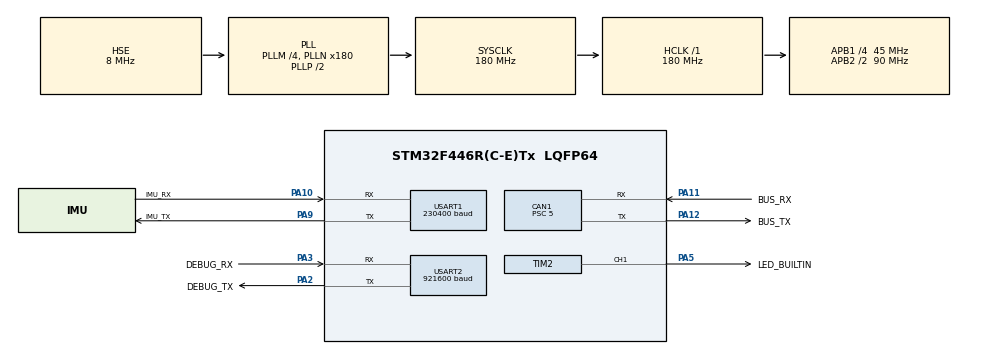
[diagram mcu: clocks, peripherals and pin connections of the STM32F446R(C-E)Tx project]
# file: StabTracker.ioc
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CAN1.BS1=CAN_BS1_15TQ
CAN1.BS2=CAN_BS2_2TQ
CAN1.CalculateBaudRate=500000
CAN1.CalculateTimeBit=1999.99
CAN1.CalculateTimeQuantum=111.11111111111111
CAN1.Prescaler=5
IWDG.Prescaler=IWDG_PRESCALER_256
IWDG.Reload=125
Mcu.Family=STM32F4
Mcu.Name=STM32F446R(C-E)Tx
Mcu.Package=LQFP64
Mcu.UserConstants=PWM_LED_OFF,0;PWM_LED_ON,1000
NVIC.CAN1_RX0_IRQn=true\:6\:0\:true\:false\:true\:true\:true
NVIC.CAN1_RX1_IRQn=true\:7\:0\:true\:false\:true\:true\:true
NVIC.CAN1_TX_IRQn=true\:8\:0\:true\:false\:true\:true\:true
NVIC.PriorityGroup=NVIC_PRIORITYGROUP_4
NVIC.TIM1_UP_TIM10_IRQn=true\:15\:0\:true\:false\:true\:true\:true
NVIC.USART1_IRQn=true\:9\:0\:true\:false\:false\:true\:true
NVIC.USART2_IRQn=true\:13\:0\:true\:false\:false\:true\:true
PA10.GPIO_Label=IMU_RX
PA10.GPIO_PuPd=GPIO_PULLUP
PA10.Mode=Asynchronous
PA10.Signal=USART1_RX
PA11.GPIO_Label=BUS_RX
PA11.GPIO_PuPd=GPIO_PULLUP
PA11.Mode=CAN_Activate
PA11.Signal=CAN1_RX
PA12.GPIO_Label=BUS_TX
PA12.GPIO_PuPd=GPIO_PULLUP
PA12.Mode=CAN_Activate
PA12.Signal=CAN1_TX
PA13.GPIO_Label=TMS
PA13.Mode=Serial_Wire
PA13.Signal=SYS_JTMS-SWDIO
PA14.GPIO_Label=TCK
PA14.Mode=Serial_Wire
PA14.Signal=SYS_JTCK-SWCLK
PA2.GPIO_Label=DEBUG_TX
PA2.Mode=Asynchronous
PA2.Signal=USART2_TX
PA3.GPIO_Label=DEBUG_RX
PA3.GPIO_PuPd=GPIO_PULLUP
PA3.Mode=Asynchronous
PA3.Signal=USART2_RX
PA5.GPIO_Label=LED_BUILTIN
PA5.Signal=S_TIM2_CH1_ETR
PA9.GPIO_Label=IMU_TX
PA9.Mode=Asynchronous
PA9.Signal=USART1_TX
PH0-OSC_IN.Mode=HSE-External-Oscillator
PH0-OSC_IN.Signal=RCC_OSC_IN
PH1-OSC_OUT.Mode=HSE-External-Oscillator
PH1-OSC_OUT.Signal=RCC_OSC_OUT
ProjectManager.HeapSize=0x200
ProjectManager.StackSize=0x400
ProjectManager.TargetToolchain=TrueSTUDIO
RCC.48MHZClocksFreq_Value=84000000
RCC.AHBFreq_Value=180000000
RCC.APB1CLKDivider=RCC_HCLK_DIV4
RCC.APB1Freq_Value=45000000
RCC.APB1TimFreq_Value=90000000
RCC.APB2CLKDivider=RCC_HCLK_DIV2
RCC.APB2Freq_Value=90000000
RCC.APB2TimFreq_Value=180000000
RCC.CortexFreq_Value=180000000
RCC.FLatency-AdvancedSettings=FLASH_LATENCY_5
RCC.HCLKFreq_Value=180000000
RCC.HSE_VALUE=8000000
RCC.HSI_VALUE=16000000
RCC.PLLM=4
RCC.PLLN=180
RCC.PLLSourceVirtual=RCC_PLLSOURCE_HSE
RCC.SYSCLKFreq_VALUE=180000000
RCC.SYSCLKSource=RCC_SYSCLKSOURCE_PLLCLK
RCC.USBFreq_Value=180000000
RCC.VCOOutputFreq_Value=360000000
SH.S_TIM2_CH1_ETR.0=TIM2_CH1,PWM Generation1 CH1
TIM1.Period=89
TIM1.Prescaler=1
TIM2.Channel-PWM\ Generation1\ CH1=TIM_CHANNEL_1
TIM2.Period=999
TIM2.Prescaler=89
TIM2.Pulse-PWM\ Generation1\ CH1=PWM_LED_OFF
USART1.BaudRate=230400
USART1.VirtualMode=VM_ASYNC
USART2.BaudRate=921600
USART2.VirtualMode=VM_ASYNC
VP_IWDG_VS_IWDG.Mode=IWDG_Activate
VP_TIM1_VS_ClockSourceINT.Mode=Internal
VP_TIM2_VS_ClockSourceINT.Mode=Internal
board=NUCLEO-F446RE

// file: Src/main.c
/* USER CODE BEGIN Header */
/**
 ******************************************************************************
 * @file           : main.c
 * @brief          : Main program body
 ******************************************************************************
 * @attention
 *
 * <h2><center>&copy; Copyright (c) 2021 STMicroelectronics.
 * All rights reserved.</center></h2>
 *
 * This software component is licensed by ST under BSD 3-Clause license,
 * the "License"; You may not use this file except in compliance with the
 * License. You may obtain a copy of the License at:
 *                        opensource.org/licenses/BSD-3-Clause
 *
 ******************************************************************************
 */
/* USER CODE END Header */
#include "main.h"

/* USER CODE BEGIN Includes */
#include <string.h>
#include <stdio.h>
#include <stdlib.h>
#include <assert.h>

#include <math.h>
#include "vector.h"

#include "rwsCanID.h"
#include "stm_hal_serial.h"
/* USER CODE END Includes */

/* USER CODE BEGIN PTD */
typedef union
{
	float f;
	int32_t i32;
	uint32_t u32;
	uint8_t b[4];
} Union_u;

typedef union
{
	int16_t f;
	uint8_t b[2];
} Union_YPR;

typedef struct
{
	uint32_t id;
	volatile bool state;
	uint8_t data[8];
	uint8_t size;
	uint8_t online;
	uint32_t debugCounter;
} TCanRecvBuffer;

typedef struct
{
	uint32_t id;
	uint8_t data[8];
	uint8_t size;
	uint32_t debugCounter;
} TCanSendBuffer;
/* USER CODE END PTD */

/* USER CODE BEGIN PD */
#define UART_BUFSIZE				1024
#define CAN_BUFSIZE					8

#define CAN_ID_RWS_MTR_STAB_ANGLE		0x301
#define CAN_ID_RWS_MTR_STAB_SPD			0x302
#define CAN_ID_RWS_PNL_STAB_MODE		0x311
#define CAN_ID_RWS_PNL_STAB_MOVE_TARGET	0x313
#define CAN_ID_RWS_PNL_STAB_MOVE_TRACK	0x312

//ADD1602
#define CAN_ID_RWS_STAB_PNL				0x340
#define CAN_ID_RWS_STAB_PNL_TRCK		0x341
#define CAN_ID_RWS_STAB_PNL_YPR			0x342

#define bitRead(value, bit) (((value) >> (bit)) & 0x01)
#define bitSet(value, bit) ((value) |= (1UL << (bit)))
#define bitClear(value, bit) ((value) &= ~(1UL << (bit)))
#define bitWrite(value, bit, bitvalue) (bitvalue ? bitSet(value, bit) : bitClear(value, bit))

#define kp1_v3 10.5
#define kp2_v3 18
#define kd1_v3 0.0
#define kd2_v3 0.1
#define ki1_v3 0.01
#define ki2_v3 0.05

#define kp1_v2 10.5
#define kp2_v2 18
#define kd1_v2 0.0
#define kd2_v2 0.1
#define ki1_v2 0.01
#define ki2_v2 0.05

#define kp1_v1 10.5
#define kp2_v1 16
#define kd1_v1 0.0
#define kd2_v1 0.01
#define ki1_v1 0.01
#define ki2_v1 0.01

#define kp1_v 10.5
#define kp2_v 12.5
#define kd1_v 0.0
#define kd2_v 0.01
#define ki1_v 0.01
#define ki2_v 0.01

// Freq Com in Hz
#define FREQ_COM 100
#define LIMIT_SPEED 50

/* USER CODE END PD */

CAN_HandleTypeDef hcan1;

IWDG_HandleTypeDef hiwdg;

TIM_HandleTypeDef htim1;
TIM_HandleTypeDef htim2;

UART_HandleTypeDef huart1;
UART_HandleTypeDef huart2;

/* USER CODE BEGIN PV */
/* TODO Global Variables*/
uint16_t bufLen = 0;
char buf[UART_BUFSIZE];

/* SERIAL 1 */
Ring_Buffer_t tx1Buffer = { { 0 }, 0, 0 };
Ring_Buffer_t rx1Buffer = { { 0 }, 0, 0 };
TSerial imu = { &rx1Buffer, &tx1Buffer, &huart1 };

/* SERIAL 2 */
Ring_Buffer_t tx2Buffer = { { 0 }, 0, 0 };
Ring_Buffer_t rx2Buffer = { { 0 }, 0, 0 };
TSerial debug = { &rx2Buffer, &tx2Buffer, &huart2 };

/* CAN BUS */
CAN_TxHeaderTypeDef can1TxHeader;
CAN_RxHeaderTypeDef can1RxHeader;
uint32_t can1TxMailBox;
uint8_t can1TxBuffer[CAN_BUFSIZE];
uint8_t can1RxBuffer[CAN_BUFSIZE];

TCanRecvBuffer canRecvMotorAngle = { CAN_ID_RWS_MTR_STAB_ANGLE, false, { 0 }, 8, 0, 0 };
TCanRecvBuffer canRecvMotorSpeed = { CAN_ID_RWS_MTR_STAB_SPD, false, { 0 }, 8, 0, 0 };
TCanRecvBuffer canRecvPanelMode = { CAN_ID_RWS_PNL_STAB_MODE, false, { 0 }, 1, 0, 0 };
TCanSendBuffer canSendStabilized = { CAN_ID_RWS_STAB_PNL, { 0 }, 8, 0 };

//ADD1602
TCanRecvBuffer canRecvPanelMoveTrack = { CAN_ID_RWS_PNL_STAB_MOVE_TRACK, false, { 0 }, 8, 0, 0 };
TCanRecvBuffer canRecvPanelMoveTarget = { CAN_ID_RWS_PNL_STAB_MOVE_TARGET, false, { 0 }, 8, 0, 0 };
TCanSendBuffer canSendStabilizedTrack = { CAN_ID_RWS_STAB_PNL_TRCK, { 0 }, 8, 0 };
TCanSendBuffer canSendYPR = { CAN_ID_RWS_STAB_PNL_YPR, { 0 }, 6, 0 };

/* Model States */
int countLog = 0;
float x0 = -90 * M_PI / 180;
float x1 = -90 * M_PI / 180;
float x2 = 0;
float theta1 = 90 * M_PI / 180;
float theta2 = 0;
float theta1_d, theta2_d;
float q_acc1, q_acc2;
float e_q1, e_q2;
float q_des_now_1, q_des_now_2;
int first_start = 1;
int countmove = 0;
float speed_limit = LIMIT_SPEED;
float cek_pitch, cek_roll;

float theta1_calc = 0;
float theta2_calc = 0;

float e_q1_last = 90 * M_PI / 180;
float e_q2_last = 0;
float e_qd1, e_qd2;

float Torque1 = 0;
float Torque2 = 0;
float pos_ee[3] = { 0, 0, 0 };
float target_pos[3] = { 0, 0, 0 };
float lengan_pos[3] = { 0, 0, 0 };
float lenganq_pos[3] = { 0, 0, 0 };
float target_pitch = 0;
float dpitch, dyaw;

float backup_val[6] = { kp1_v, kp2_v, kd1_v, kd2_v, ki1_v, ki2_v };
float kp1 = kp1_v, kp2 = kp2_v;
float kd1 = kd1_v, kd2 = kd2_v;
float ki1 = ki1_v, ki2 = ki2_v;
int save_pid_q = 0;
int debugIMUcount = 0;
int i = 0;

float theta1_target = 90 * M_PI / 180;
float theta2_target = 0;
float x0_target = -90 * M_PI / 180;
float x1_target = -90 * M_PI / 180;

float offset0 = 0.0f, offset1 = 0.0f;
int set_2 = 0;

uint32_t period_com = 1000 / FREQ_COM;

/* Move Target */
float move_theta1, move_theta2;
bool update_move;

//ADD1602
float track_theta1, track_theta2;
bool update_move_track;

/* CAN TX Vars */
Union_u sp_send1;
Union_u sp_send2;

/* CAN RX Vars */
bool mode = false;
bool mode_track = false;

/* IMU */
char imuBuf[UART_BUFSIZE];
Union_YPR yaw, pitch, roll;

volatile uint32_t Milliseconds;
volatile uint32_t Microseconds;

/* USER CODE END PV */

void SystemClock_Config(void);
static void MX_GPIO_Init(void);
static void MX_USART1_UART_Init(void);
static void MX_USART2_UART_Init(void);
static void MX_IWDG_Init(void);
static void MX_TIM2_Init(void);
static void MX_TIM1_Init(void);
static void MX_CAN1_Init(void);
/* USER CODE BEGIN PFP */
static void imuHandler();
static void busHandler();
static void kontrolHandler();
static void calc_torques();
static void forward_kinematics();
static void log_data();
static void reset_IMU_integrals();
static float roundOneDec(float);
static void calc_target();
static void gain_schedule();

/* USER CODE END PFP */

/* USER CODE BEGIN 0 */
static void CAN_Config()
{
	CAN_FilterTypeDef sFilterConfig;

	/*##-2- Configure the CAN Filter ###########################################*/

	/* filter can id = CAN_ID_RWS_PNL_STAB_MODE= 0x311 */
	sFilterConfig.FilterBank = 0;
	sFilterConfig.FilterMode = CAN_FILTERMODE_IDMASK;
	sFilterConfig.FilterScale = CAN_FILTERSCALE_32BIT;
	sFilterConfig.FilterIdHigh = (CAN_ID_RWS_PNL_STAB_MODE << 5);
	sFilterConfig.FilterIdLow = 0;
	sFilterConfig.FilterMaskIdHigh = (CAN_ID_RWS_PNL_STAB_MODE << 5);
	sFilterConfig.FilterMaskIdLow = 0;
	sFilterConfig.FilterFIFOAssignment = CAN_RX_FIFO0;
	sFilterConfig.FilterActivation = ENABLE;
	sFilterConfig.SlaveStartFilterBank = 14;

	if (HAL_CAN_ConfigFilter(&hcan1, &sFilterConfig) != HAL_OK) {
		/* filter configuration error */
		Error_Handler();
	}

	/* filter can id = CAN_ID_RWS_MTR_STAB_ANGLE= 0x301 */
	sFilterConfig.FilterBank = 1;
	sFilterConfig.FilterMode = CAN_FILTERMODE_IDMASK;
	sFilterConfig.FilterScale = CAN_FILTERSCALE_32BIT;
	sFilterConfig.FilterIdHigh = (CAN_ID_RWS_MTR_STAB_ANGLE << 5);
	sFilterConfig.FilterIdLow = 0;
	sFilterConfig.FilterMaskIdHigh = (CAN_ID_RWS_MTR_STAB_ANGLE << 5);
	sFilterConfig.FilterMaskIdLow = 0;
	sFilterConfig.FilterFIFOAssignment = CAN_RX_FIFO0;
	sFilterConfig.FilterActivation = ENABLE;
	sFilterConfig.SlaveStartFilterBank = 14;

	if (HAL_CAN_ConfigFilter(&hcan1, &sFilterConfig) != HAL_OK) {
		/* filter configuration error */
		Error_Handler();
	}

	/* filter can id = CAN_ID_RWS_MTR_STAB_SPD= 0x302 */
	sFilterConfig.FilterBank = 2;
	sFilterConfig.FilterMode = CAN_FILTERMODE_IDMASK;
	sFilterConfig.FilterScale = CAN_FILTERSCALE_32BIT;
	sFilterConfig.FilterIdHigh = (CAN_ID_RWS_MTR_STAB_SPD << 5);
	sFilterConfig.FilterIdLow = 0;
	sFilterConfig.FilterMaskIdHigh = (CAN_ID_RWS_MTR_STAB_SPD << 5);
	sFilterConfig.FilterMaskIdLow = 0;
	sFilterConfig.FilterFIFOAssignment = CAN_RX_FIFO0;
	sFilterConfig.FilterActivation = ENABLE;
	sFilterConfig.SlaveStartFilterBank = 14;

	if (HAL_CAN_ConfigFilter(&hcan1, &sFilterConfig) != HAL_OK) {
		/* filter configuration error */
		Error_Handler();
	}

	/* filter can id = CAN_ID_RWS_PNL_STAB_MOVE_TRACK= 0x312 */
	sFilterConfig.FilterBank = 3;
	sFilterConfig.FilterMode = CAN_FILTERMODE_IDMASK;
	sFilterConfig.FilterScale = CAN_FILTERSCALE_32BIT;
	sFilterConfig.FilterIdHigh = (CAN_ID_RWS_PNL_STAB_MOVE_TRACK << 5);
	sFilterConfig.FilterIdLow = 0;
	sFilterConfig.FilterMaskIdHigh = (CAN_ID_RWS_PNL_STAB_MOVE_TRACK << 5);
	sFilterConfig.FilterMaskIdLow = 0;
	sFilterConfig.FilterFIFOAssignment = CAN_RX_FIFO0;
	sFilterConfig.FilterActivation = ENABLE;
	sFilterConfig.SlaveStartFilterBank = 14;

	if (HAL_CAN_ConfigFilter(&hcan1, &sFilterConfig) != HAL_OK) {
		/* filter configuration error */
		Error_Handler();
	}

	/* filter can id = CAN_ID_RWS_PNL_STAB_MOVE_TRACK= 0x312 */
	sFilterConfig.FilterBank = 4;
	sFilterConfig.FilterMode = CAN_FILTERMODE_IDMASK;
	sFilterConfig.FilterScale = CAN_FILTERSCALE_32BIT;
	sFilterConfig.FilterIdHigh = (CAN_ID_RWS_PNL_STAB_MOVE_TARGET << 5);
	sFilterConfig.FilterIdLow = 0;
	sFilterConfig.FilterMaskIdHigh = (CAN_ID_RWS_PNL_STAB_MOVE_TARGET << 5);
	sFilterConfig.FilterMaskIdLow = 0;
	sFilterConfig.FilterFIFOAssignment = CAN_RX_FIFO0;
	sFilterConfig.FilterActivation = ENABLE;
	sFilterConfig.SlaveStartFilterBank = 14;

	if (HAL_CAN_ConfigFilter(&hcan1, &sFilterConfig) != HAL_OK) {
		/* filter configuration error */
		Error_Handler();
	}

	/*##-3- Start the CAN peripheral ###########################################*/
	if (HAL_CAN_Start(&hcan1) != HAL_OK) {
		/* Start Error */
		Error_Handler();
	}

	/*##-4- Activate CAN RX notification #######################################*/
	if (HAL_CAN_ActivateNotification(&hcan1, CAN_IT_RX_FIFO0_MSG_PENDING) != HAL_OK) {
		__HAL_CAN_ENABLE_IT(&hcan1, CAN_IT_RX_FIFO0_MSG_PENDING);
	}

	/*##-5- Configure Transmission process #####################################*/
	can1TxHeader.StdId = 0x123;
	can1TxHeader.ExtId = 0x01;
	can1TxHeader.RTR = CAN_RTR_DATA;
	can1TxHeader.IDE = CAN_ID_STD;
	can1TxHeader.DLC = CAN_BUFSIZE;
	can1TxHeader.TransmitGlobalTime = DISABLE;
}

static void ledToggle()
{
	if (__HAL_TIM_GET_COMPARE(&htim2,TIM_CHANNEL_1) == PWM_LED_OFF)
		__HAL_TIM_SET_COMPARE(&htim2, TIM_CHANNEL_1, PWM_LED_ON);
	else
		__HAL_TIM_SET_COMPARE(&htim2, TIM_CHANNEL_1, PWM_LED_OFF);
}

static void ledOn()
{
	__HAL_TIM_SET_COMPARE(&htim2, TIM_CHANNEL_1, PWM_LED_ON);
}

static void ledOff()
{
	__HAL_TIM_SET_COMPARE(&htim2, TIM_CHANNEL_1, PWM_LED_OFF);
}

/* USER CODE END 0 */

int main(void)
{

	/* MCU Configuration--------------------------------------------------------*/

	/* Reset of all peripherals, Initializes the Flash interface and the Systick. */
	HAL_Init();

	/* Configure the system clock */
	SystemClock_Config();

	/* Initialize all configured peripherals */
	MX_GPIO_Init();
	MX_USART1_UART_Init();
	MX_USART2_UART_Init();
	MX_IWDG_Init();
	MX_TIM2_Init();
	MX_TIM1_Init();
	MX_CAN1_Init();
	/* USER CODE BEGIN 2 */
	HAL_IWDG_Refresh(&hiwdg);

	serial_init(&debug);
	bufLen = sprintf(buf, "\r\nStabilizer & Tracker Control Firmware!\r\n");
	serial_write_str(&debug, buf, bufLen);

	HAL_TIM_PWM_Start(&htim2, TIM_CHANNEL_1);
	ledOn();

//	HAL_TIM_Base_Start_IT(&htim1);
//	__HAL_TIM_SET_COUNTER(&htim1, 0);

	serial_init(&imu);

	/* USER CODE END 2 */

	/* Infinite loop */
	/* USER CODE BEGIN WHILE */
//	uint32_t debugTimer = 0;
//	uint32_t pwmLedPeriod = PWM_LED_OFF;
	while (1) {
		HAL_IWDG_Refresh(&hiwdg);
		/* USER CODE END WHILE */

		/* USER CODE BEGIN 3 */
		imuHandler();
		busHandler();
		kontrolHandler();
//		if (HAL_GetTick() >= debugTimer) {
//			debugTimer = HAL_GetTick() + 1000;
//
//			if (pwmLedPeriod == PWM_LED_OFF)
//				pwmLedPeriod = PWM_LED_ON;
//			else
//				pwmLedPeriod = PWM_LED_OFF;
//
//			__HAL_TIM_SET_COMPARE(&htim2, TIM_CHANNEL_1, pwmLedPeriod);
//			bufLen = sprintf(buf, "pwm= %d t=%d%03dus\r\n", pwmLedPeriod, Milliseconds,
//					Microseconds);
//			serial_write_str(&debug, buf, bufLen);
//		}

	}
	/* USER CODE END 3 */
}

void SystemClock_Config(void)
{
	RCC_OscInitTypeDef RCC_OscInitStruct = { 0 };
	RCC_ClkInitTypeDef RCC_ClkInitStruct = { 0 };

	/** Configure the main internal regulator output voltage
	 */
	__HAL_RCC_PWR_CLK_ENABLE()
	;
	__HAL_PWR_VOLTAGESCALING_CONFIG(PWR_REGULATOR_VOLTAGE_SCALE1);
	/** Initializes the RCC Oscillators according to the specified parameters
	 * in the RCC_OscInitTypeDef structure.
	 */
	RCC_OscInitStruct.OscillatorType = RCC_OSCILLATORTYPE_LSI | RCC_OSCILLATORTYPE_HSE;
	RCC_OscInitStruct.HSEState = RCC_HSE_ON;
	RCC_OscInitStruct.LSIState = RCC_LSI_ON;
	RCC_OscInitStruct.PLL.PLLState = RCC_PLL_ON;
	RCC_OscInitStruct.PLL.PLLSource = RCC_PLLSOURCE_HSE;
	RCC_OscInitStruct.PLL.PLLM = 4;
	RCC_OscInitStruct.PLL.PLLN = 180;
	RCC_OscInitStruct.PLL.PLLP = RCC_PLLP_DIV2;
	RCC_OscInitStruct.PLL.PLLQ = 2;
	RCC_OscInitStruct.PLL.PLLR = 2;
	if (HAL_RCC_OscConfig(&RCC_OscInitStruct) != HAL_OK) {
		Error_Handler();
	}
	/** Activate the Over-Drive mode
	 */
	if (HAL_PWREx_EnableOverDrive() != HAL_OK) {
		Error_Handler();
	}
	/** Initializes the CPU, AHB and APB buses clocks
	 */
	RCC_ClkInitStruct.ClockType = RCC_CLOCKTYPE_HCLK | RCC_CLOCKTYPE_SYSCLK | RCC_CLOCKTYPE_PCLK1
			| RCC_CLOCKTYPE_PCLK2;
	RCC_ClkInitStruct.SYSCLKSource = RCC_SYSCLKSOURCE_PLLCLK;
	RCC_ClkInitStruct.AHBCLKDivider = RCC_SYSCLK_DIV1;
	RCC_ClkInitStruct.APB1CLKDivider = RCC_HCLK_DIV4;
	RCC_ClkInitStruct.APB2CLKDivider = RCC_HCLK_DIV2;

	if (HAL_RCC_ClockConfig(&RCC_ClkInitStruct, FLASH_LATENCY_5) != HAL_OK) {
		Error_Handler();
	}
}

static void MX_CAN1_Init(void)
{

	hcan1.Instance = CAN1;
	hcan1.Init.Prescaler = 5;
	hcan1.Init.Mode = CAN_MODE_NORMAL;
	hcan1.Init.SyncJumpWidth = CAN_SJW_1TQ;
	hcan1.Init.TimeSeg1 = CAN_BS1_15TQ;
	hcan1.Init.TimeSeg2 = CAN_BS2_2TQ;
	hcan1.Init.TimeTriggeredMode = DISABLE;
	hcan1.Init.AutoBusOff = DISABLE;
	hcan1.Init.AutoWakeUp = DISABLE;
	hcan1.Init.AutoRetransmission = DISABLE;
	hcan1.Init.ReceiveFifoLocked = DISABLE;
	hcan1.Init.TransmitFifoPriority = DISABLE;
	if (HAL_CAN_Init(&hcan1) != HAL_OK) {
		Error_Handler();
	}
	/* USER CODE BEGIN CAN1_Init 2 */
	CAN_Config();
	/* USER CODE END CAN1_Init 2 */

}

static void MX_IWDG_Init(void)
{

	hiwdg.Instance = IWDG;
	hiwdg.Init.Prescaler = IWDG_PRESCALER_256;
	hiwdg.Init.Reload = 125;
	if (HAL_IWDG_Init(&hiwdg) != HAL_OK) {
		Error_Handler();
	}

}

static void MX_TIM1_Init(void)
{

	TIM_ClockConfigTypeDef sClockSourceConfig = { 0 };
	TIM_MasterConfigTypeDef sMasterConfig = { 0 };

	htim1.Instance = TIM1;
	htim1.Init.Prescaler = 1;
	htim1.Init.CounterMode = TIM_COUNTERMODE_UP;
	htim1.Init.Period = 89;
	htim1.Init.ClockDivision = TIM_CLOCKDIVISION_DIV1;
	htim1.Init.RepetitionCounter = 0;
	htim1.Init.AutoReloadPreload = TIM_AUTORELOAD_PRELOAD_DISABLE;
	if (HAL_TIM_Base_Init(&htim1) != HAL_OK) {
		Error_Handler();
	}
	sClockSourceConfig.ClockSource = TIM_CLOCKSOURCE_INTERNAL;
	if (HAL_TIM_ConfigClockSource(&htim1, &sClockSourceConfig) != HAL_OK) {
		Error_Handler();
	}
	sMasterConfig.MasterOutputTrigger = TIM_TRGO_RESET;
	sMasterConfig.MasterSlaveMode = TIM_MASTERSLAVEMODE_DISABLE;
	if (HAL_TIMEx_MasterConfigSynchronization(&htim1, &sMasterConfig) != HAL_OK) {
		Error_Handler();
	}

}

static void MX_TIM2_Init(void)
{

	TIM_ClockConfigTypeDef sClockSourceConfig = { 0 };
	TIM_MasterConfigTypeDef sMasterConfig = { 0 };
	TIM_OC_InitTypeDef sConfigOC = { 0 };

	htim2.Instance = TIM2;
	htim2.Init.Prescaler = 89;
	htim2.Init.CounterMode = TIM_COUNTERMODE_UP;
	htim2.Init.Period = 999;
	htim2.Init.ClockDivision = TIM_CLOCKDIVISION_DIV1;
	htim2.Init.AutoReloadPreload = TIM_AUTORELOAD_PRELOAD_DISABLE;
	if (HAL_TIM_Base_Init(&htim2) != HAL_OK) {
		Error_Handler();
	}
	sClockSourceConfig.ClockSource = TIM_CLOCKSOURCE_INTERNAL;
	if (HAL_TIM_ConfigClockSource(&htim2, &sClockSourceConfig) != HAL_OK) {
		Error_Handler();
	}
	if (HAL_TIM_PWM_Init(&htim2) != HAL_OK) {
		Error_Handler();
	}
	sMasterConfig.MasterOutputTrigger = TIM_TRGO_RESET;
	sMasterConfig.MasterSlaveMode = TIM_MASTERSLAVEMODE_DISABLE;
	if (HAL_TIMEx_MasterConfigSynchronization(&htim2, &sMasterConfig) != HAL_OK) {
		Error_Handler();
	}
	sConfigOC.OCMode = TIM_OCMODE_PWM1;
	sConfigOC.Pulse = PWM_LED_OFF;
	sConfigOC.OCPolarity = TIM_OCPOLARITY_HIGH;
	sConfigOC.OCFastMode = TIM_OCFAST_DISABLE;
	if (HAL_TIM_PWM_ConfigChannel(&htim2, &sConfigOC, TIM_CHANNEL_1) != HAL_OK) {
		Error_Handler();
	}
	HAL_TIM_MspPostInit(&htim2);

}

static void MX_USART1_UART_Init(void)
{

	huart1.Instance = USART1;
	huart1.Init.BaudRate = 230400;
	huart1.Init.WordLength = UART_WORDLENGTH_8B;
	huart1.Init.StopBits = UART_STOPBITS_1;
	huart1.Init.Parity = UART_PARITY_NONE;
	huart1.Init.Mode = UART_MODE_TX_RX;
	huart1.Init.HwFlowCtl = UART_HWCONTROL_NONE;
	huart1.Init.OverSampling = UART_OVERSAMPLING_16;
	if (HAL_UART_Init(&huart1) != HAL_OK) {
		Error_Handler();
	}

}

static void MX_USART2_UART_Init(void)
{

	huart2.Instance = USART2;
	huart2.Init.BaudRate = 921600;
	huart2.Init.WordLength = UART_WORDLENGTH_8B;
	huart2.Init.StopBits = UART_STOPBITS_1;
	huart2.Init.Parity = UART_PARITY_NONE;
	huart2.Init.Mode = UART_MODE_TX_RX;
	huart2.Init.HwFlowCtl = UART_HWCONTROL_NONE;
	huart2.Init.OverSampling = UART_OVERSAMPLING_16;
	if (HAL_UART_Init(&huart2) != HAL_OK) {
		Error_Handler();
	}

}

static void MX_GPIO_Init(void)
{
	GPIO_InitTypeDef GPIO_InitStruct = { 0 };

	/* GPIO Ports Clock Enable */
	__HAL_RCC_GPIOC_CLK_ENABLE()
	;
	__HAL_RCC_GPIOH_CLK_ENABLE()
	;
	__HAL_RCC_GPIOA_CLK_ENABLE()
	;
	__HAL_RCC_GPIOB_CLK_ENABLE()
	;
	__HAL_RCC_GPIOD_CLK_ENABLE()
	;

	/*Configure GPIO pins : PC13 PC14 PC15 PC0
	 PC1 PC2 PC3 PC4
	 PC5 PC6 PC7 PC8
	 PC9 PC10 PC11 PC12 */
	GPIO_InitStruct.Pin = GPIO_PIN_13 | GPIO_PIN_14 | GPIO_PIN_15 | GPIO_PIN_0 | GPIO_PIN_1
			| GPIO_PIN_2 | GPIO_PIN_3 | GPIO_PIN_4 | GPIO_PIN_5 | GPIO_PIN_6 | GPIO_PIN_7
			| GPIO_PIN_8 | GPIO_PIN_9 | GPIO_PIN_10 | GPIO_PIN_11 | GPIO_PIN_12;
	GPIO_InitStruct.Mode = GPIO_MODE_ANALOG;
	GPIO_InitStruct.Pull = GPIO_NOPULL;
	HAL_GPIO_Init(GPIOC, &GPIO_InitStruct);

	/*Configure GPIO pins : PA0 PA1 PA4 PA6
	 PA7 PA8 PA15 */
	GPIO_InitStruct.Pin = GPIO_PIN_0 | GPIO_PIN_1 | GPIO_PIN_4 | GPIO_PIN_6 | GPIO_PIN_7
			| GPIO_PIN_8 | GPIO_PIN_15;
	GPIO_InitStruct.Mode = GPIO_MODE_ANALOG;
	GPIO_InitStruct.Pull = GPIO_NOPULL;
	HAL_GPIO_Init(GPIOA, &GPIO_InitStruct);

	/*Configure GPIO pins : PB0 PB1 PB2 PB10
	 PB12 PB13 PB14 PB15
	 PB3 PB4 PB5 PB6
	 PB7 PB8 PB9 */
	GPIO_InitStruct.Pin = GPIO_PIN_0 | GPIO_PIN_1 | GPIO_PIN_2 | GPIO_PIN_10 | GPIO_PIN_12
			| GPIO_PIN_13 | GPIO_PIN_14 | GPIO_PIN_15 | GPIO_PIN_3 | GPIO_PIN_4 | GPIO_PIN_5
			| GPIO_PIN_6 | GPIO_PIN_7 | GPIO_PIN_8 | GPIO_PIN_9;
	GPIO_InitStruct.Mode = GPIO_MODE_ANALOG;
	GPIO_InitStruct.Pull = GPIO_NOPULL;
	HAL_GPIO_Init(GPIOB, &GPIO_InitStruct);

	/*Configure GPIO pin : PD2 */
	GPIO_InitStruct.Pin = GPIO_PIN_2;
	GPIO_InitStruct.Mode = GPIO_MODE_ANALOG;
	GPIO_InitStruct.Pull = GPIO_NOPULL;
	HAL_GPIO_Init(GPIOD, &GPIO_InitStruct);

}

/* USER CODE BEGIN 4 */
/* TODO Begin of Functions Declaration*/

//void TIM1_UP_TIM10_IRQHandler(void)
//{
//	/* TIM Update event */
//	if (__HAL_TIM_GET_FLAG(&htim1, TIM_FLAG_UPDATE) != RESET) {
//		if (__HAL_TIM_GET_IT_SOURCE(&htim1, TIM_IT_UPDATE) != RESET) {
//			__HAL_TIM_CLEAR_IT(&htim1, TIM_IT_UPDATE);
//
//			Microseconds++;
//			if (Microseconds >= 1000) {
//				Microseconds = 0;
//				Milliseconds++;
//			}
//		}
//	}
//}
/* TODO Begin of Functions Declaration*/
void USART1_IRQHandler(void)
{
	USARTx_IRQHandler(&imu);
}

void USART2_IRQHandler(void)
{
	USARTx_IRQHandler(&debug);
}

/**
 * @brief  Rx Fifo 0 message pending callback
 * @param  hcan: pointer to a CAN_HandleTypeDef structure that contains
 *         the configuration information for the specified CAN.
 * @retval None
 */
void HAL_CAN_RxFifo0MsgPendingCallback(CAN_HandleTypeDef *hcan)
{
	uint32_t _id = 0;

	if (HAL_CAN_GetRxMessage(hcan, CAN_RX_FIFO0, &can1RxHeader, can1RxBuffer) == HAL_OK) {
		_id = can1RxHeader.StdId;
		if (_id == canRecvMotorAngle.id) {
			canRecvMotorAngle.state = true;
			memcpy(canRecvMotorAngle.data, can1RxBuffer, canRecvMotorAngle.size);
			canRecvMotorAngle.debugCounter++;
		}
		else if (_id == canRecvMotorSpeed.id) {
			canRecvMotorSpeed.state = true;
			memcpy(canRecvMotorSpeed.data, can1RxBuffer, canRecvMotorSpeed.size);
			canRecvMotorSpeed.debugCounter++;
		}
		else if (_id == canRecvPanelMode.id) {
			canRecvPanelMode.state = true;
			memcpy(canRecvPanelMode.data, can1RxBuffer, canRecvPanelMode.size);
			canRecvPanelMode.debugCounter++;
		}
		else if (_id == canRecvPanelMoveTarget.id) {
			canRecvPanelMoveTarget.state = true;
			memcpy(canRecvPanelMoveTarget.data, can1RxBuffer, canRecvPanelMoveTarget.size);
			canRecvPanelMoveTarget.debugCounter++;
		}
		else if (_id == canRecvPanelMoveTrack.id) {
			canRecvPanelMoveTrack.state = true;
			memcpy(canRecvPanelMoveTrack.data, can1RxBuffer, canRecvPanelMoveTrack.size);
			canRecvPanelMoveTrack.debugCounter++;
		}
	}
}

static char** str_split(char* a_str, const char a_delim)
{
	char** result = 0;
	size_t count = 0;
	char* tmp = a_str;
	char* last_comma = 0;
	char delim[2];
	delim[0] = a_delim;
	delim[1] = 0;

	/* Count how many elements will be extracted. */
	while (*tmp) {
		if (a_delim == *tmp) {
			count++;
			last_comma = tmp;
		}
		tmp++;
	}

	/* Add space for trailing token. */
	count += last_comma < (a_str + strlen(a_str) - 1);

	/* Add space for terminating null string so caller
	 knows where the list of returned strings ends. */
	count++;

	result = malloc(sizeof(char*) * count);

	if (result) {
		size_t idx = 0;
		char* token = strtok(a_str, delim);

		while (token) {
			assert(idx < count);
			*(result + idx++) = strdup(token);
			token = strtok(0, delim);
		}
		assert(idx == count - 1);
		*(result + idx) = 0;
	}

	return result;
}

static void busHandler()
{
	bool panelCmdMode = false;
	bool panelCmdModeTrack = false;
	uint8_t recvBuffer[8];
	Union_u x, y;

	if (canRecvPanelMode.state) {
		canRecvPanelMode.state = false;
		panelCmdMode = bitRead(canRecvPanelMode.data[0], 0);
		panelCmdModeTrack = bitRead(canRecvPanelMode.data[0], 1);
		if (mode != panelCmdMode) {
			if (panelCmdMode) {
				/* start stab */
				first_start = 1;
				reset_IMU_integrals();
				ledOn();
			}
			else {
				/* end stab */
				reset_IMU_integrals();
				ledOff();
				update_move = false;
			}

			mode = panelCmdMode;
		}

		//ADD1602
		if (mode_track != panelCmdModeTrack) {
			if (panelCmdModeTrack) {
				/* start track */
				first_start = 1;
				reset_IMU_integrals();
				ledOn();
			}
			else {
				/* end track */
				reset_IMU_integrals();
				ledOff();
				update_move_track = false;
			}
			mode_track = panelCmdModeTrack;
		}
	}

	/* new data actual angle from motor */
	if (canRecvMotorAngle.state) {
		canRecvMotorAngle.state = false;
		memcpy(recvBuffer, canRecvMotorAngle.data, 8);

		for ( int i = 0; i < 4; i++ ) {
			x.b[i] = recvBuffer[i];
			y.b[i] = recvBuffer[4 + i];
		}
		/*
		 * actual angle azimuth = x.f
		 * actual angle elevation = y.f
		 */
		theta1 = wrapAngle(toRad(-x.f + 90));
		theta2 = wrapAngle(toRad(y.f));
	}

	/* new data actual speed from motor */
	if (canRecvMotorSpeed.state) {
		canRecvMotorSpeed.state = false;

		memcpy(recvBuffer, canRecvMotorSpeed.data, 8);

		for ( int i = 0; i < 4; i++ ) {
			x.b[i] = recvBuffer[i];
			y.b[i] = recvBuffer[4 + i];
		}
		/*
		 * actual speed azimuth = x.f
		 * actual speed elevation = y.f
		 */
		theta1_d = toRad(-x.f);
		theta2_d = toRad(y.f);

		if (fabs(-x.f) < 0.061) {
			theta1_d = 0;
		}
		if (fabs(y.f) < 0.061) {
			theta2_d = 0;
		}

	}

	/* new data move target from panel */
	if (canRecvPanelMoveTarget.state) {
		canRecvPanelMoveTarget.state = false;

		memcpy(recvBuffer, canRecvPanelMoveTarget.data, 8);

		for ( int i = 0; i < 4; i++ ) {
			x.b[i] = recvBuffer[i];
			y.b[i] = recvBuffer[4 + i];
		}
		/*
		 * move target speed azimuth = x.f
		 * move target speed elevation = y.f
		 */
		move_theta1 = -x.f * 0.1;  //10 Hz
		move_theta2 = y.f * 0.1;
		update_move = true;
	}

	//ADD1602
	/* new data track from panel */
	if (canRecvPanelMoveTrack.state) {
		canRecvPanelMoveTrack.state = false;

		memcpy(recvBuffer, canRecvPanelMoveTrack.data, 8);

		for ( int i = 0; i < 4; i++ ) {
			x.b[i] = recvBuffer[i];
			y.b[i] = recvBuffer[4 + i];
		}
		/*
		 * move track speed azimuth = x.f
		 * move track speed elevation = y.f
		 */
		track_theta1 = -x.f * 0.1;  //10 Hz
		track_theta2 = y.f * 0.1;
		update_move_track = true;
	}

}

//ADD1602
static float roundOneDec(float val)
{
	float value = (int) (val * 10 + fabs(val) / val * .5);
	return value;
}

static void imuHandler()
{
	char c[2] = { 0, 0 };
	bool dataUpdate = false;
	char *s;
	char **tokens;

	while (serial_available(&imu)) {
		c[0] = serial_read(&imu);
		if (c[0] == '$') {
			memset(imuBuf, 0, UART_BUFSIZE);
		}
		else if (c[0] == '*') {
			dataUpdate = true;
//			strcat(imuBuf, c);
			break;
		}
		strcat(imuBuf, c);
	}

	if (dataUpdate) {
		debugIMUcount += 1;
		/* $VNYPR,+141.058,+002.072,-179.441,... */
//		bufLen = sprintf(buf, "recv msg: \"%s\"\r\n", imuBuf);
//		serial_write_str(&debug, buf, bufLen);
		s = strstr(imuBuf, "$VNYPR,");
		if (s) {
			tokens = str_split(imuBuf, ',');
			if (tokens) {
				for ( int i = 0; *(tokens + i); i++ ) {
					s = *(tokens + i);

					switch (i)
					{
					case 1:
						/* yaw */
						yaw.f = roundOneDec(atof(s));
						break;
					case 2:
						/* pitch */
//						if(!mode){offset0 = atof(s);}
//						x0 = wrapAngle(toRad(atof(s)-90-offset0));
//						if(!mode){offset0 = atof(s);}
						if (fabs(atof(s) - cek_pitch) >= 0.005)
							x0 = wrapAngle(toRad(atof(s) - 90 - offset0));
						cek_pitch = atof(s);
						pitch.f = roundOneDec(atof(s));
						break;
					case 3:
						/* roll */
//						if(!mode){offset1 = atof(s);}
						if (fabs(atof(s) - cek_roll) >= 0.005)
							x1 = wrapAngle(toRad(atof(s) - 90 - offset1));
						cek_roll = atof(s);
						roll.f = roundOneDec(atof(s));
						break;
					}
					free(*(tokens + i));
				}	//for ( int i = 0; *(tokens + i); i++ ) {
				free(tokens);
			}	//if (tokens) {
		} /*if (s) {*/
	} /*if (dataUpdate) {*/
}

static void kontrolHandler()
{
	static uint32_t processTimer = 0;
	static uint32_t imuTimer = 0;

	//ADD1602
	if (HAL_GetTick() >= imuTimer) {
		imuTimer = HAL_GetTick() + 100;  //10Hz

		// Send Data
		for ( int i = 0; i < 2; i++ ) {
			canSendYPR.data[i] = yaw.b[i];
			canSendYPR.data[i + 2] = pitch.b[i];
			canSendYPR.data[i + 4] = roll.b[i];
		}
		can1TxHeader.StdId = canSendYPR.id;
		can1TxHeader.DLC = canSendYPR.size;
		memcpy(can1TxBuffer, canSendYPR.data, canSendYPR.size);

		if (HAL_CAN_AddTxMessage(&hcan1, &can1TxHeader, can1TxBuffer, &can1TxMailBox) == HAL_OK) {
			canSendYPR.debugCounter++;
		}
		else {
			/* if failed, send again after 1ms */
			imuTimer = HAL_GetTick() + 1;
		}

	}

	if (HAL_GetTick() >= processTimer) {
		processTimer = HAL_GetTick() + period_com;

		if (mode || mode_track) {
			forward_kinematics();  // OK
			calc_torques();  // OK
		}
		else if (!mode) {
			if (!mode_track) {
				sp_send1.f = 0.0;
				sp_send2.f = 0.0;
			}
		}

		// Send Data
//		/* NO STAB */
//		sp_send1.f = 0;
//		sp_send2.f = 0;

		//ADD1602
		if (!mode_track) {  // if track disabled
			for ( int i = 0; i < 4; i++ ) {
				canSendStabilized.data[i] = sp_send1.b[i];
				canSendStabilized.data[i + 4] = sp_send2.b[i];
			}
			can1TxHeader.StdId = canSendStabilized.id;
			can1TxHeader.DLC = canSendStabilized.size;
			memcpy(can1TxBuffer, canSendStabilized.data, canSendStabilized.size);
		}
		else {
			for ( int i = 0; i < 4; i++ ) {
				canSendStabilizedTrack.data[i] = sp_send1.b[i];
				canSendStabilizedTrack.data[i + 4] = sp_send2.b[i];
			}
			can1TxHeader.StdId = canSendStabilizedTrack.id;
			can1TxHeader.DLC = canSendStabilizedTrack.size;
			memcpy(can1TxBuffer, canSendStabilizedTrack.data, canSendStabilizedTrack.size);
		}

		if (HAL_CAN_AddTxMessage(&hcan1, &can1TxHeader, can1TxBuffer, &can1TxMailBox) == HAL_OK) {
			canSendStabilized.debugCounter++;
			if (speed_limit < LIMIT_SPEED) {
				speed_limit += 1;
				speed_limit = wrapVal(speed_limit, LIMIT_SPEED);
			}

		}
		else {
			/* if failed, send again after 1ms */
			processTimer = HAL_GetTick() + 1;

			/* Smoothing After Data Loss*/
			speed_limit = 3;
		}

		log_data();
	}
}

static void reset_IMU_integrals()
{
	q_acc1 = 0;
	q_acc2 = 0;
	dpitch = 0;
	dyaw = 0;
	sp_send1.f = 0.0;
	sp_send2.f = 0.0;
	e_q1 = 0;
	e_q2 = 0;
	e_qd1 = 0;
	e_qd2 = 0;
}

static float find_pitch(float x1, float y1, float z1, float x2, float y2, float z2)
{
	return atan2f(z2 - z1, sqrt(pow((x2 - x1), 2) + pow((y2 - y1), 2)));
}

//static float find_dyaw(float x1, float y1, float z1, float x2, float y2, float z2, float xt, float yt, float zt){
//  float a = wrapVal( ((x2-x1)*(xt-x1) + (y2-y1)*(yt-y1))/ (sqrt(pow((x2-x1),2) + pow((y2-y1),2)) * sqrt(pow((xt-x1),2) + pow((yt-y1),2))), 1.0);
//  if(isnan(a)) return 0;
//  else return (sign((x2-x1)*(yt-y1) - (y2-y1) * (xt-x1)) * acos(a));
//}

static void calc_target()
{
	target_pos[0] = 1.0965
			* (-sinf(theta1_target) * sinf(x0_target)
					+ cosf(theta1_target) * cosf(x0_target) * cosf(x1_target)) * cosf(theta2_target)
			+ 0.135 * sinf(theta1_target) * sinf(x0_target)
			+ 1.0965 * sinf(theta2_target) * sinf(x1_target) * cosf(x0_target)
			+ 0.4705 * sinf(x1_target) * cosf(x0_target)
			- 0.135 * cosf(theta1_target) * cosf(x0_target) * cosf(x1_target);
	target_pos[1] = -1.0965 * sinf(theta2_target) * cosf(x1_target)
			+ 1.0965 * sinf(x1_target) * cosf(theta1_target) * cosf(theta2_target)
			- 0.135 * sinf(x1_target) * cosf(theta1_target) - 0.4705 * cosf(x1_target);
	target_pos[2] = 1.0965
			* (sinf(theta1_target) * cosf(x0_target)
					+ sinf(x0_target) * cosf(theta1_target) * cosf(x1_target)) * cosf(theta2_target)
			- 0.135 * sinf(theta1_target) * cosf(x0_target)
			+ 1.0965 * sinf(theta2_target) * sinf(x0_target) * sinf(x1_target)
			+ 0.4705 * sinf(x0_target) * sinf(x1_target)
			- 0.135 * sinf(x0_target) * cosf(theta1_target) * cosf(x1_target);

	lenganq_pos[0] = 0.135 * sinf(theta1_calc) * sinf(x0_target)
			+ 0.4705 * sinf(x1_target) * cosf(x0_target)
			- 0.135 * cosf(theta1_calc) * cosf(x0_target) * cosf(x1_target);
	lenganq_pos[1] = -0.135 * sinf(x1_target) * cosf(theta1_calc) - 0.4705 * cosf(x1_target);
	lenganq_pos[2] = -0.135 * sinf(theta1_calc) * cosf(x0_target)
			+ 0.4705 * sinf(x0_target) * sinf(x1_target)
			- 0.135 * sinf(x0_target) * cosf(theta1_calc) * cosf(x1_target);

	target_pitch = find_pitch(lenganq_pos[0], lenganq_pos[1], lenganq_pos[2], target_pos[0],
			target_pos[1], target_pos[2]);
}

static void forward_kinematics()
{
	//1. Calc Target Pos (Frame I)
	if (first_start == 1) {
		reset_IMU_integrals();
		theta1_target = theta1_calc = theta1;
		theta2_target = theta2_calc = theta2;
		x0_target = x0;
		x1_target = x1;
		calc_target();

		first_start = 0;
	}

	//ADD1602

	if (update_move && !mode_track) {
		Torque1 = toRad(move_theta1 * 10);
		theta2_target += toRad(move_theta2);
		calc_target();
		countmove = 0;
		update_move = false;
	}

	if (update_move_track && mode_track) {
		Torque1 = toRad(track_theta1 * 10);
		theta2_target += toRad(track_theta2);
		calc_target();
		countmove = 0;
		update_move_track = false;
	}

	//2. Calc Pos EE
	pos_ee[0] = 1.0965 * (-sinf(theta1) * sinf(x0) + cosf(theta1) * cosf(x0) * cosf(x1))
			* cosf(theta2) + 0.135 * sinf(theta1) * sinf(x0)
			+ 1.0965 * sinf(theta2) * sinf(x1) * cosf(x0) + 0.4705 * sinf(x1) * cosf(x0)
			- 0.135 * cosf(theta1) * cosf(x0) * cosf(x1);
	pos_ee[1] = -1.0965 * sinf(theta2) * cosf(x1) + 1.0965 * sinf(x1) * cosf(theta1) * cosf(theta2)
			- 0.135 * sinf(x1) * cosf(theta1) - 0.4705 * cosf(x1);
	pos_ee[2] = 1.0965 * (sinf(theta1) * cosf(x0) + sinf(x0) * cosf(theta1) * cosf(x1))
			* cosf(theta2) - 0.135 * sinf(theta1) * cosf(x0)
			+ 1.0965 * sinf(theta2) * sinf(x0) * sinf(x1) + 0.4705 * sinf(x0) * sinf(x1)
			- 0.135 * sinf(x0) * cosf(theta1) * cosf(x1);

	//3. Calc Lengan Pos
	lengan_pos[0] = 0.135 * sinf(theta1) * sinf(x0) + 0.4705 * sinf(x1) * cosf(x0)
			- 0.135 * cosf(theta1) * cosf(x0) * cosf(x1);
	lengan_pos[1] = -0.135 * sinf(x1) * cosf(theta1) - 0.4705 * cosf(x1);
	lengan_pos[2] = -0.135 * sinf(theta1) * cosf(x0) + 0.4705 * sinf(x0) * sinf(x1)
			- 0.135 * sinf(x0) * cosf(theta1) * cosf(x1);

	dpitch = target_pitch
			- find_pitch(lengan_pos[0], lengan_pos[1], lengan_pos[2], pos_ee[0], pos_ee[1],
					pos_ee[2]);
	dyaw = 0;  //find_dyaw(lengan_pos[0], lengan_pos[1], lengan_pos[2], pos_ee[0], pos_ee[1], pos_ee[2], target_pos[0], target_pos[1], target_pos[2]);
//  if(fabs(dpitch)<5E-5) dpitch = 0;
//  if(fabs(dyaw)<5E-5) dyaw = 0;

	if (sqrt(
			pow(target_pos[0] - pos_ee[0], 2) + pow(target_pos[1] - pos_ee[1], 2)
					+ pow(target_pos[2] - pos_ee[2], 2)) < 1E-6)
		dpitch = 0;

	q_des_now_1 = theta1 + dyaw;
	q_des_now_2 = theta2 + dpitch;
}

static void calc_torques()
{
//  e_q1 = wrapVal(q_des_now_1 - theta1, toRad(5));
	e_q2 = wrapVal(q_des_now_2 - theta2, toRad(5));

//  e_qd1 = wrapVal( (e_q1-e_q1_last)/(period_com/1000) , toRad(25));
	e_qd2 = wrapVal((e_q2 - e_q2_last) / (period_com / 1000), toRad(25));
	gain_schedule();
	// Reset Integral Every Time Error Crossed zero
//  if(fabs(e_q1) <= toRad(0.05)) { q_acc1 = 0; }
	if (fabs(e_q2) <= toRad(0.05)) {
		q_acc2 = 0;
	}

	if (countmove >= 10)
		Torque1 = 0;
	else
		countmove++;
//  Torque1 = (kp1 * e_q1 - kd1 * e_qd1 + ki1 * q_acc1);
	Torque2 = (kp2 * e_q2 - kd2 * e_qd2 + ki2 * q_acc2);

	sp_send1.f = wrapVal(-toDeg(Torque1), speed_limit / 2);
	sp_send2.f = wrapVal(toDeg(Torque2), speed_limit);  //90

	//ADD1602
//  if(update_move && !mode_track){
//	  sp_send1.f += move_theta1;
//	  sp_send2.f += move_theta2;
//	  update_move = false;
//  }

//  if(update_move_track && mode_track){
//	  sp_send1.f += track_theta1;
//	  sp_send2.f += track_theta2;
//	  update_move_track = false;
//  }

	if (fabs(sp_send1.f) <= 1E-5) {
		sp_send1.f = 0;
	}
	if (fabs(sp_send2.f) <= 0.001) {
		sp_send2.f = 0;
	}

	if (isnan(sp_send1.f))
		sp_send1.f = 0;
	if (isnan(sp_send2.f))
		sp_send2.f = 0;

	q_acc1 += e_q1;
	q_acc2 += e_q2;
	q_acc1 = wrapVal(q_acc1, 50);
	q_acc2 = wrapVal(q_acc2, 50);
	e_q1_last = e_q1;
	e_q2_last = e_q2;
}

static void log_data()
{
	// mode, sp_send1, sp_send2, dyaw, dpitch, x0, x1, theta1, theta2, theta1_d, theta2_d
//	bufLen = sprintf(buf, "%ld, %d, %f, %f, %f, %f, %f, %f, %f, %f, %f, %f \r\n",
//					 HAL_GetTick(), mode, sp_send1.f, sp_send2.f, toDeg(-dyaw), toDeg(dpitch), toDeg(x0), toDeg(x1), toDeg(theta1), toDeg(theta2), toDeg(theta1_d), toDeg(theta2_d));

	bufLen = sprintf(buf,
			"%ld, %d, %d, %d, %.3f, %.3f, %f, %f, %f, %f, %.4f, %.4f, %.3f, %.3f \r\n",
			HAL_GetTick(), mode, mode_track, set_2, sp_send1.f, sp_send2.f, toDeg(-dyaw),
			toDeg(dpitch), cek_pitch, cek_roll, theta1, theta2, theta1_d, theta2_d);

//	bufLen = sprintf(buf, "%ld, %ld, %d, %d, %.3f, %.3f, %f, %f, %f, %f, %.4f, %.4f \r\n",
//							 HAL_GetTick(), canRecvPanelMoveTrack.debugCounter, mode, mode_track, sp_send1.f, sp_send2.f, toDeg(-dyaw), toDeg(dpitch), x0, x1, theta1, theta2);

	serial_write_str(&debug, buf, bufLen);

//	countLog+=1;
//	bufLen = sprintf(buf, "%ld, %ld, %f \r\n", HAL_GetTick(), canRecvMotorAngle.debugCounter,theta1);
//	serial_write_str(&debug, buf, bufLen);
//	if(countLog==200){
//
//		canRecvMotorAngle.debugCounter = 0;
//		countLog = 0;
//	}

}

static void gain_schedule()
{
	int E2, DE2;  //1 besar, 0 kecil
	E2 = DE2 = 0;
	set_2 = 0;

	if (fabs(e_q2) >= toRad(2.2))
		E2 = 1;
	if (fabs(e_qd2) >= toRad(8))
		DE2 = 1;

	if (E2 && DE2)
		set_2 = 2;
	else if (!E2 && DE2)
		set_2 = 1;
	else if (E2 && !DE2)
		set_2 = 1;
	else if (!(E2))
		set_2 = 0;

	if (set_2 == 0) {  //err kecil, derr kecil
		kp2 = kp2_v;
		kd2 = kd2_v;
		ki2 = ki2_v;
	}
	else if (set_2 == 1) {  //err besar, derr kecil
		kp2 = kp2_v1;
		kd2 = kd2_v1;
		ki2 = ki2_v1;
	}
	else if (set_2 == 2) {  //err kecil, derr besar
		kp2 = kp2_v2;
		kd2 = kd2_v2;
		ki2 = ki2_v2;
	}
	else if (set_2 == 3) {  //err besar, derr besar
		kp2 = kp2_v3;
		kd2 = kd2_v3;
		ki2 = ki2_v3;
	}

}

/* TODO END of Functions Declarations*/

/* USER CODE END 4 */

void Error_Handler(void)
{
	__disable_irq();
	while (1) {
	}
}

/************************ (C) COPYRIGHT STMicroelectronics *****END OF FILE****/
